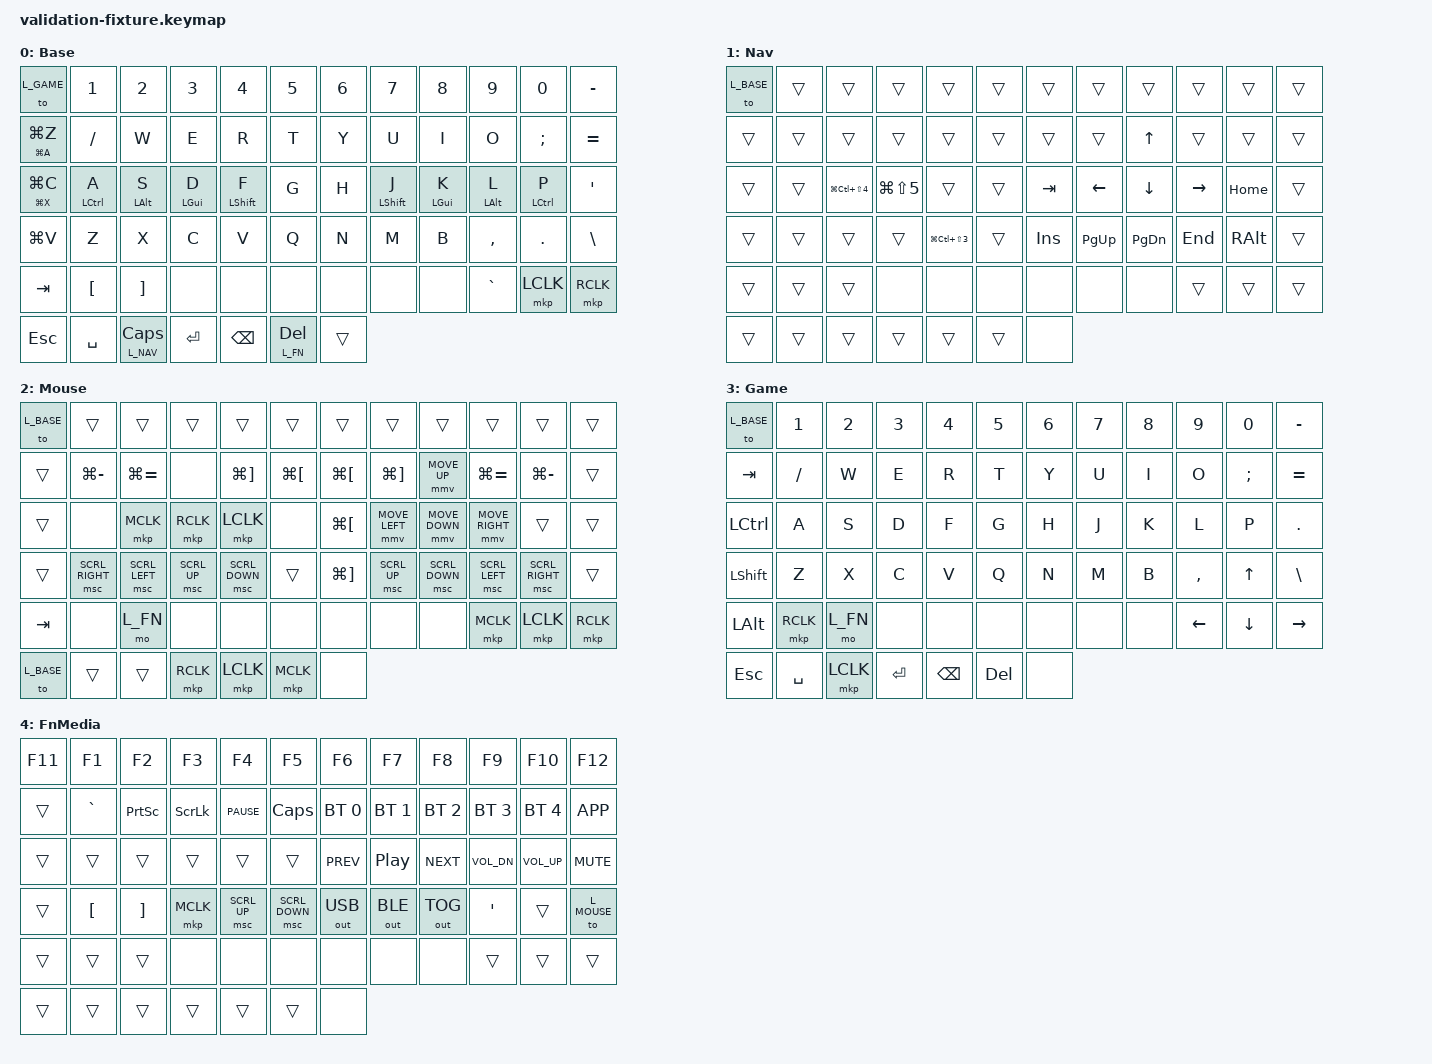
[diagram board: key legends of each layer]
/*
 * Obrey MODU-C dongle 1.0 -- three devices, one unchanged personal keymap.
 * Original MODU material: Copyright (c) 2026 EKS Inc.; created by Ryu.
 * SPDX-License-Identifier: LicenseRef-EKS-NonCommercial-1.0
 * Unofficial non-commercial modification; preserve LICENSE and NOTICE.md.
 *
 * Base=0, Nav=1, Mouse=2, Game=3, FnMedia=4. No maintenance layer.
 * Base: 1+3+5 -> boot the source of those keys; 6+8+0 -> their source.
 * True three-key combos: 80 ms window, 300 ms prior input idle, no long hold.
 * REQUIRES local-modules/obrey-combo-boot; this is not a standalone keymap file.
 * All 335 ordinary bindings are retained from the agreed v3.6 keymap.
 * Base placeholders 51..56; slot 66 is neutral, not assumed nonexistent.
 * Hardware is vendored from the supplied bffdf7e ZIP; layout metadata is unchanged.
 * Firmware build and physical tests are separate from source/host tests.
 */

#define L_BASE  0
#define L_NAV   1
#define L_MOUSE 2
#define L_GAME  3
#define L_FN    4

#define ZMK_POINTING_DEFAULT_MOVE_VAL 1200
#define ZMK_POINTING_DEFAULT_SCRL_VAL 25

#include <input/processors.dtsi>
#include <zephyr/dt-bindings/input/input-event-codes.h>
#include <behaviors.dtsi>
#include <dt-bindings/zmk/bt.h>
#include <dt-bindings/zmk/keys.h>
#include <dt-bindings/zmk/outputs.h>
#include <dt-bindings/zmk/pointing.h>

/* Only keyboard-generated mouse motion/scroll. Not the physical trackball. */
&mmv_input_listener {
    input-processors = <&zip_xy_scaler 2 1>;
};
&msc_input_listener {
    input-processors = <&zip_scroll_scaler 2 1>;
};
&msc {
    acceleration-exponent = <1>;
    time-to-max-speed-ms = <100>;
    delay-ms = <0>;
};
&mmv {
    time-to-max-speed-ms = <500>;
    acceleration-exponent = <1>;
    trigger-period-ms = <16>;
};

/ {
    behaviors {
        // Real combo-source dispatch. Standard &bootloader alone loses the side.
        boot135: boot135 {
            compatible = "zmk,behavior-obrey-combo-boot";
            #binding-cells = <0>;
            display-name = "Boot left: 1+3+5";
            key-positions = <1 3 5>;
            window-ms = <80>;
            bindings = <&bootloader>;
        };
        boot680: boot680 {
            compatible = "zmk,behavior-obrey-combo-boot";
            #binding-cells = <0>;
            display-name = "Boot right: 6+8+0";
            key-positions = <6 8 10>;
            window-ms = <80>;
            bindings = <&bootloader>;
        };

        hm200: hm200 {
            compatible = "zmk,behavior-hold-tap";
            label = "HOMEROW_MODS";
            bindings = <&kp>, <&kp>;
            #binding-cells = <2>;
            tapping-term-ms = <200>;
            quick-tap-ms = <130>;
            require-prior-idle-ms = <(-1)>;
            flavor = "tap-preferred";
        };

        hm250: hm250 {
            compatible = "zmk,behavior-hold-tap";
            label = "HM250";
            bindings = <&kp>, <&kp>;
            #binding-cells = <2>;
            tapping-term-ms = <250>;
            quick-tap-ms = <130>;
            require-prior-idle-ms = <(-1)>;
            flavor = "tap-preferred";
        };
    };

    combos {
        compatible = "zmk,combos";

        // Direct three-key combos. The custom behavior restores the actual side.
        combo_boot_135 {
            timeout-ms = <80>;
            require-prior-idle-ms = <300>;
            key-positions = <1 3 5>;
            bindings = <&boot135>;
            layers = <L_BASE>;
        };
        combo_boot_680 {
            timeout-ms = <80>;
            require-prior-idle-ms = <300>;
            key-positions = <6 8 10>;
            bindings = <&boot680>;
            layers = <L_BASE>;
        };

        /* No combo is active on Game or FnMedia. */
        mouse {
            timeout-ms = <50>;
            key-positions = <41 62>;
            bindings = <&tog L_MOUSE>;
            layers = <L_BASE L_NAV L_MOUSE>;
        };
        enter {
            timeout-ms = <50>;
            key-positions = <33 32>;
            bindings = <&kp ENTER>;
            layers = <L_BASE>;
        };
        back_space {
            timeout-ms = <50>;
            key-positions = <31 32>;
            bindings = <&kp BACKSPACE>;
            layers = <L_BASE>;
        };

        /* Intentional pairing-clear gesture: Nav held, then the 1 and 0 number keys together.
         * Not active on Game or FnMedia. Clears only the selected Bluetooth profile.
         */
        bluetooth_clear {
            timeout-ms = <50>;
            require-prior-idle-ms = <300>;
            key-positions = <1 10>;
            bindings = <&bt BT_CLR>;
            layers = <L_NAV>;
        };
    };

    keymap {
        compatible = "zmk,keymap";
        // Base letters/home-row mods kept; new keys restore missing punctuation. 0 enters Game.
        default_layer {
            display-name = "Base";
            bindings = <
                /* 00..11 */ &to L_GAME              &kp N1                  &kp N2                  &kp N3                  &kp N4                  &kp N5                  &kp N6                  &kp N7                  &kp N8                  &kp N9                  &kp N0                  &kp MINUS
                /* 12..23 */ &mt LG(A) LG(Z)         &kp SLASH               &kp W                   &kp E                   &kp R                   &kp T                   &kp Y                   &kp U                   &kp I                   &kp O                   &kp SEMICOLON           &kp EQUAL
                /* 24..35 */ &mt LG(X) LG(C)         &hm250 LCTRL A          &hm200 LALT S           &hm200 LEFT_GUI D       &hm200 LSHFT F          &kp G                   &kp H                   &hm200 LSHFT J          &hm200 LEFT_GUI K       &hm200 LALT L           &hm250 LCTRL P          &kp APOS
                /* 36..47 */ &kp LG(V)               &kp Z                   &kp X                   &kp C                   &kp V                   &kp Q                   &kp N                   &kp M                   &kp B                   &kp COMMA               &kp PERIOD              &kp BSLH
                /* 48..59 */ &kp TAB                 &kp LBKT                &kp RBKT                &none                   &none                   &none                   &none                   &none                   &none                   &kp GRAVE               &mkp LCLK               &mkp RCLK
                /* 60..66 */ &kp ESC                 &kp SPACE               &lt L_NAV CAPSLOCK      &kp ENTER               &kp BACKSPACE           &lt L_FN DEL            &trans
            >;
        };

        // Nav; node name lower_layer retained for compatibility with existing repo checks.
        lower_layer {
            display-name = "Nav";
            bindings = <
                /* 00..11 */ &to L_BASE              &trans                  &trans                  &trans                  &trans                  &trans                  &trans                  &trans                  &trans                  &trans                  &trans                  &trans
                /* 12..23 */ &trans                  &trans                  &trans                  &trans                  &trans                  &trans                  &trans                  &trans                  &kp UP                  &trans                  &trans                  &trans
                /* 24..35 */ &trans                  &trans                  &kp LG(LC(LS(N4)))      &kp LG(LS(N5))          &trans                  &trans                  &kp TAB                 &kp LEFT                &kp DOWN                &kp RIGHT               &kp HOME                &trans
                /* 36..47 */ &trans                  &trans                  &trans                  &trans                  &kp LG(LC(LS(N3)))      &trans                  &kp INS                 &kp PG_UP               &kp PG_DN               &kp END                 &kp RALT                &trans
                /* 48..59 */ &trans                  &trans                  &trans                  &none                   &none                   &none                   &none                   &none                   &none                   &trans                  &trans                  &trans
                /* 60..66 */ &trans                  &trans                  &trans                  &trans                  &trans                  &trans                  &none
            >;
        };

        // Mouse mode; 0 or left Escape returns to Base. 50 temporarily activates FnMedia.
        Mouse {
            display-name = "Mouse";
            bindings = <
                /* 00..11 */ &to L_BASE              &trans                  &trans                  &trans                  &trans                  &trans                  &trans                  &trans                  &trans                  &trans                  &trans                  &trans
                /* 12..23 */ &trans                  &kp LG(MINUS)           &kp LG(EQUAL)           &none                   &kp LG(RBKT)            &kp LG(LBKT)            &kp LG(LBKT)            &kp LG(RBKT)            &mmv MOVE_UP            &kp LG(EQUAL)           &kp LG(MINUS)           &trans
                /* 24..35 */ &trans                  &none                   &mkp MCLK               &mkp RCLK               &mkp LCLK               &none                   &kp LG(LBKT)            &mmv MOVE_LEFT          &mmv MOVE_DOWN          &mmv MOVE_RIGHT         &trans                  &trans
                /* 36..47 */ &trans                  &msc SCRL_RIGHT         &msc SCRL_LEFT          &msc SCRL_UP            &msc SCRL_DOWN          &trans                  &kp LG(RBKT)            &msc SCRL_UP            &msc SCRL_DOWN          &msc SCRL_LEFT          &msc SCRL_RIGHT         &trans
                /* 48..59 */ &kp TAB                 &none                   &mo L_FN                &none                   &none                   &none                   &none                   &none                   &none                   &mkp MCLK               &mkp LCLK               &mkp RCLK
                /* 60..66 */ &to L_BASE              &trans                  &trans                  &mkp RCLK               &mkp LCLK               &mkp MCLK               &none
            >;
        };

        // Gaming: plain key/button presses; 0 returns to Base. Dot moved from 46 to 35.
        game {
            display-name = "Game";
            bindings = <
                /* 00..11 */ &to L_BASE              &kp N1                  &kp N2                  &kp N3                  &kp N4                  &kp N5                  &kp N6                  &kp N7                  &kp N8                  &kp N9                  &kp N0                  &kp MINUS
                /* 12..23 */ &kp TAB                 &kp SLASH               &kp W                   &kp E                   &kp R                   &kp T                   &kp Y                   &kp U                   &kp I                   &kp O                   &kp SEMICOLON           &kp EQUAL
                /* 24..35 */ &kp LCTRL               &kp A                   &kp S                   &kp D                   &kp F                   &kp G                   &kp H                   &kp J                   &kp K                   &kp L                   &kp P                   &kp PERIOD
                /* 36..47 */ &kp LSHFT               &kp Z                   &kp X                   &kp C                   &kp V                   &kp Q                   &kp N                   &kp M                   &kp B                   &kp COMMA               &kp UP                  &kp BSLH
                /* 48..59 */ &kp LEFT_ALT            &mkp RCLK               &mo L_FN                &none                   &none                   &none                   &none                   &none                   &none                   &kp LEFT                &kp DOWN                &kp RIGHT
                /* 60..66 */ &kp ESC                 &kp SPACE               &mkp LCLK               &kp ENTER               &kp BACKSPACE           &kp DELETE              &none
            >;
        };

        // Fn overlay above Game.
        FnMedia {
            display-name = "FnMedia";
            bindings = <
                /* 00..11 */ &kp F11                    &kp F1                     &kp F2                     &kp F3                     &kp F4                     &kp F5                     &kp F6                     &kp F7                     &kp F8                     &kp F9                     &kp F10                    &kp F12
                /* 12..23 */ &trans                     &kp GRAVE                  &kp PSCRN                  &kp SLCK          &kp C_PAUSE      &kp CAPSLOCK               &bt BT_SEL 0               &bt BT_SEL 1               &bt BT_SEL 2               &bt BT_SEL 3               &bt BT_SEL 4               &kp K_APP
                /* 24..35 */ &trans                     &trans                     &trans                     &trans                     &trans                     &trans                     &kp C_PREV                 &kp C_PP                   &kp C_NEXT                 &kp C_VOL_DN               &kp C_VOL_UP               &kp C_MUTE
                /* 36..47 */ &trans                     &kp LBKT                   &kp RBKT                   &mkp MCLK                  &msc SCRL_UP               &msc SCRL_DOWN             &out OUT_USB               &out OUT_BLE               &out OUT_TOG               &kp APOS                   &trans                     &to L_MOUSE
                /* 48..59 */ &trans                     &trans                     &trans                     &none                      &none                      &none                      &none                      &none                      &none                      &trans                     &trans                     &trans
                /* 60..66 */ &trans                     &trans                     &trans                     &trans                     &trans                     &trans                     &none
            >;
        };

    };
};
